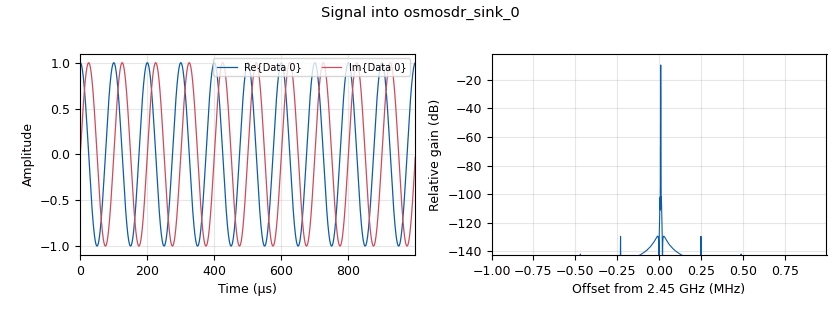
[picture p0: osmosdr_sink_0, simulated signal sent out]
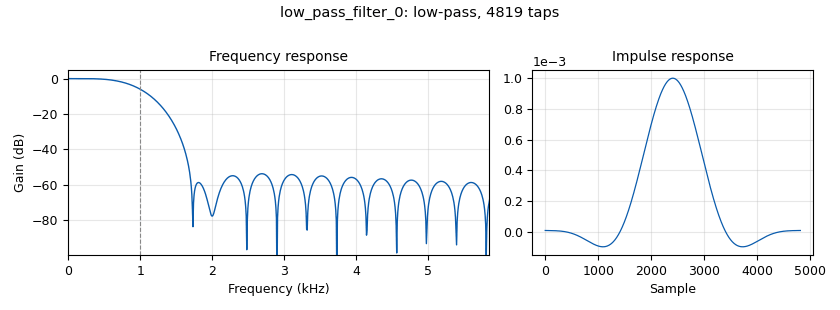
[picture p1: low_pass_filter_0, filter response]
options:
  parameters:
    generate_options: no_gui
    id: top_block
    output_language: python
  states: {}

blocks:
- name: decim
  id: variable
  parameters:
    value: 512*4
  states: {}
- name: fft_size
  id: variable
  parameters:
    value: '512'
  states: {}
- name: samp_rate
  id: variable
  parameters:
    value: '2000000'
  states: {}
- name: analog_agc_xx_0
  id: analog_agc_xx
  parameters:
    gain: '1.0'
    max_gain: '65536'
    rate: '1e-4'
    reference: '1.0'
    type: complex
  states: {}
- name: analog_agc_xx_0_0
  id: analog_agc_xx
  parameters:
    gain: '1.0'
    max_gain: '65536'
    rate: '1e-4'
    reference: '1.0'
    type: complex
  states: {}
- name: analog_sig_source_x_0
  id: analog_sig_source_x
  parameters:
    amp: '1'
    freq: 10e3
    offset: '0'
    phase: '0'
    samp_rate: samp_rate
    type: complex
    waveform: analog.GR_COS_WAVE
  states: {}
- name: blocks_multiply_conjugate_cc_0
  id: blocks_multiply_conjugate_cc
  parameters: {}
  states: {}
- name: blocks_udp_sink_0_0
  id: blocks_udp_sink
  parameters:
    eof: 'True'
    ipaddr: 10.10.1.7
    port: '3333'
    psize: '1472'
    type: complex
    vlen: '1'
  states: {}
- name: low_pass_filter_0
  id: low_pass_filter
  parameters:
    cutoff_freq: 1e3
    decim: decim
    gain: '1'
    samp_rate: samp_rate
    type: fir_filter_ccf
    width: 1e3
    win: window.WIN_HAMMING
  states: {}
- name: osmosdr_sink_0
  id: osmosdr_sink
  parameters:
    bb_gain0: '20'
    bw0: 5e6
    freq0: 2.45e9
    gain0: '50'
    if_gain0: '20'
    sample_rate: samp_rate
    sync: sync
    type: fc32
  states: {}
- name: osmosdr_source_0
  id: osmosdr_source
  parameters:
    bb_gain0: '20'
    bw0: 5e6
    freq0: 2.45e9
    gain0: '50'
    gain_mode0: 'False'
    if_gain0: '20'
    sample_rate: samp_rate
    sync: sync
    type: fc32
  states: {}

connections:
- [analog_agc_xx_0, '0', blocks_multiply_conjugate_cc_0, '0']
- [analog_agc_xx_0_0, '0', blocks_multiply_conjugate_cc_0, '1']
- [analog_sig_source_x_0, '0', analog_agc_xx_0, '0']
- [analog_sig_source_x_0, '0', osmosdr_sink_0, '0']
- [blocks_multiply_conjugate_cc_0, '0', low_pass_filter_0, '0']
- [low_pass_filter_0, '0', blocks_udp_sink_0_0, '0']
- [osmosdr_source_0, '0', analog_agc_xx_0_0, '0']

metadata:
  file_format: 1
  grc_version: 3.9.8.0
